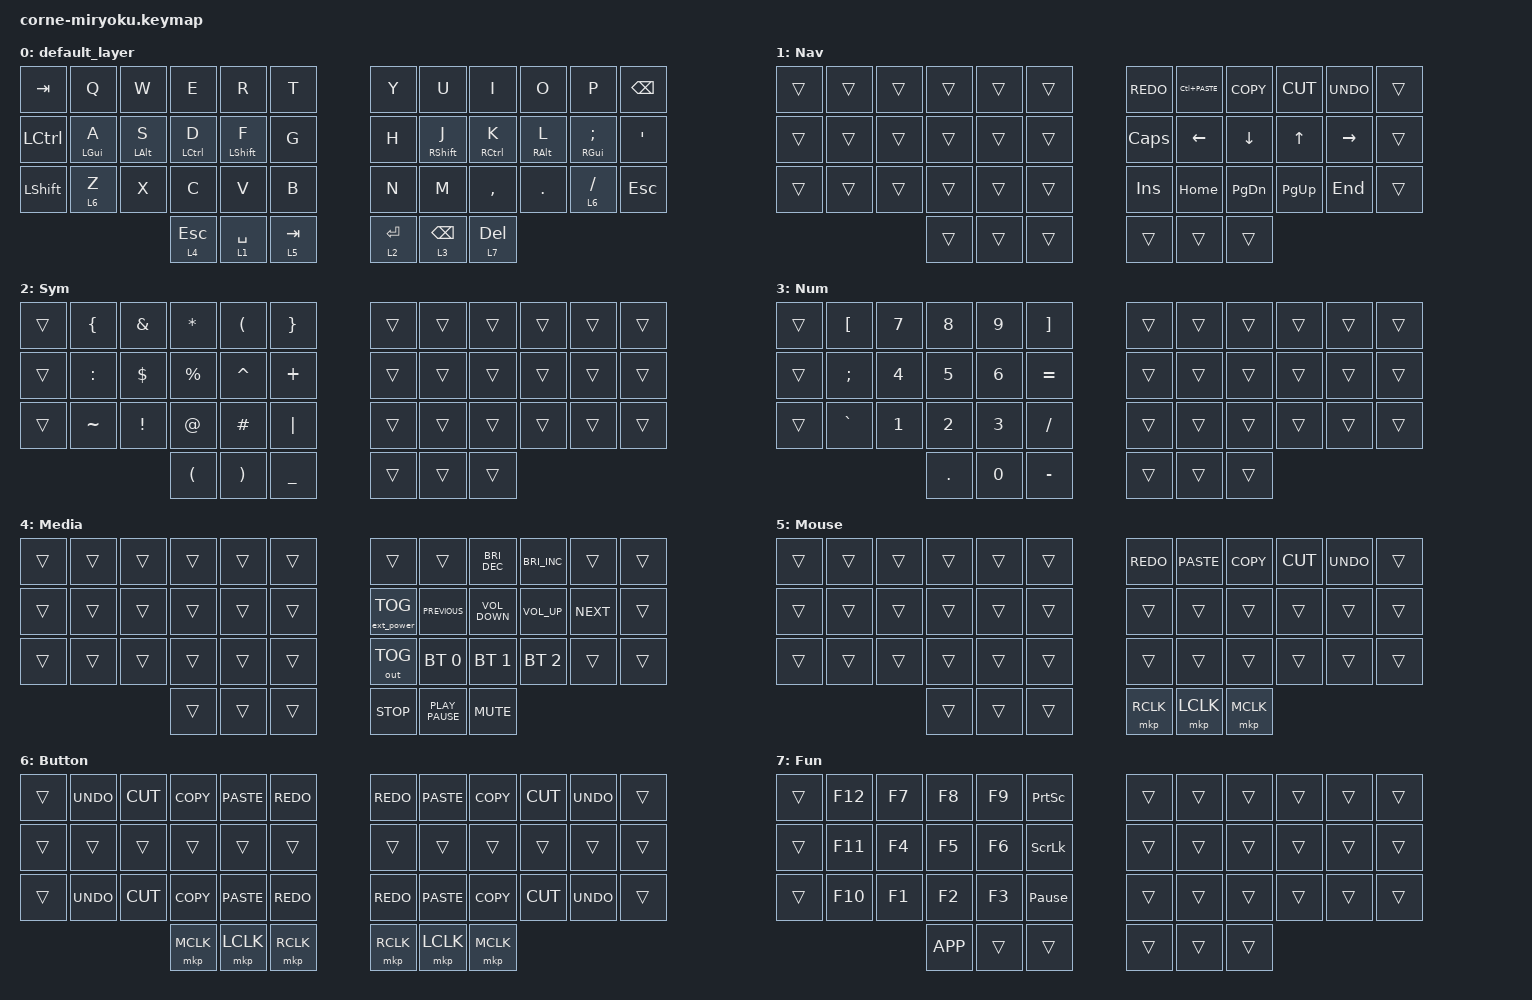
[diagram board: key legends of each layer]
/*
 * Copyright (c) 2020 The ZMK Contributors
 *
 * SPDX-License-Identifier: MIT
 */

#include <behaviors.dtsi>
#include <dt-bindings/zmk/bt.h>
#include <dt-bindings/zmk/ext_power.h>
#include <dt-bindings/zmk/keys.h>
#include <dt-bindings/zmk/outputs.h>

/ {
    behaviors {
        hml: hml {
            compatible = "zmk,behavior-hold-tap";
            label = "HML";
            bindings = <&kp>, <&kp>;

            #binding-cells = <2>;
            tapping-term-ms = <200>;
            hold-trigger-key-positions = <6 7 8 9 10 11 18 19 20 21 22 23 30 31 32 33 34 35>;
            flavor = "tap-preferred";
            hold-trigger-on-release;
        };

        hmr: hmr {
            compatible = "zmk,behavior-hold-tap";
            label = "HMR";
            bindings = <&kp>, <&kp>;

            #binding-cells = <2>;
            tapping-term-ms = <200>;
            hold-trigger-key-positions = <0 12 24 25 13 1 2 14 27 26 28 29 17 16 15 3 4 5>;
            flavor = "tap-preferred";
            hold-trigger-on-release;
        };

        thumblayer: thumblayer {
            compatible = "zmk,behavior-hold-tap";
            label = "THUMBLAYER";
            bindings = <&mo>, <&kp>;

            #binding-cells = <2>;
            tapping-term-ms = <200>;
            flavor = "hold-preferred";
        };

        thumbmod: thumbmod {
            compatible = "zmk,behavior-hold-tap";
            label = "THUMBMOD";
            bindings = <&kp>, <&kp>;

            #binding-cells = <2>;
            tapping-term-ms = <200>;
        };

        thumbtap: thumbtap {
            compatible = "zmk,behavior-hold-tap";
            label = "THUMBTAP";
            bindings = <&kp>, <&kp>;

            #binding-cells = <2>;
            tapping-term-ms = <200>;
            flavor = "balanced";
        };

        tll: tll {
            compatible = "zmk,behavior-hold-tap";
            label = "TLL";
            bindings = <&mo>, <&kp>;

            #binding-cells = <2>;
            tapping-term-ms = <200>;
            flavor = "hold-preferred";
            hold-trigger-key-positions = <6 18 30 31 32 33 34 22 10 9 8 7 19 20 21 39 40 41>;
        };

        tlr: tlr {
            compatible = "zmk,behavior-hold-tap";
            label = "TLR";
            bindings = <&mo>, <&kp>;

            #binding-cells = <2>;
            tapping-term-ms = <200>;
            flavor = "hold-preferred";
            hold-trigger-key-positions = <29 17 5 4 3 1 2 13 25 26 14 15 16 27 28 36 37 38>;
        };

        hacksword: hacksword {
            compatible = "zmk,behavior-caps-word";
            label = "HACKSWORD";
            #binding-cells = <0>;
            continue-list = <UNDERSCORE BACKSLASH MINUS>;
        };
    };

    combos {
        compatible = "zmk,combos";

        btclear {
            bindings = <&bt BT_CLR>;
            key-positions = <5 6>;
        };

        hackcaps {
            bindings = <&hacksword>;
            key-positions = <17 18>;
        };
    };

    keymap {
        compatible = "zmk,keymap";

        default_layer {
            // -----------------------------------------------------------------------------------------
            // |  TAB |  Q  |  W  |  E  |  R  |  T  |   |  Y  |  U   |  I  |  O  |  P  | BKSP |
            // | CTRL |  A  |  S  |  D  |  F  |  G  |   |  H  |  J   |  K  |  L  |  ;  |  '   |
            // | SHFT |  Z  |  X  |  C  |  V  |  B  |   |  N  |  M   |  ,  |  .  |  /  | ESC  |
            //                    | GUI | LWR | SPC |   | ENT | RSE  | ALT |

            bindings = <
&kp TAB         &kp Q            &kp W            &kp E                 &kp R              &kp T         &kp Y       &kp U               &kp I          &kp O             &kp P                     &kp BSPC
&kp LCTRL       &hml LEFT_GUI A  &hml LEFT_ALT S  &hml LCTRL D          &hml LEFT_SHIFT F  &kp G         &kp H       &hmr RIGHT_SHIFT J  &hmr RCTRL K   &hmr RIGHT_ALT L  &hmr RIGHT_GUI SEMICOLON  &kp SQT
&kp LEFT_SHIFT  &thumblayer 6 Z  &kp X            &kp C                 &kp V              &kp B         &kp N       &kp M               &kp COMMA      &kp DOT           &thumblayer 6 SLASH       &kp ESC
                                                  &thumblayer 4 ESCAPE  &tll 1 SPACE       &tll 5 TAB    &tlr 2 RET  &tlr 3 BACKSPACE    &tlr 7 DELETE
            >;
        };

        Nav {
            // -----------------------------------------------------------------------------------------
            // |  TAB |  1  |  2  |  3  |  4  |  5  |   |  6  |  7  |  8  |  9  |  0  | BKSP |
            // | BTCLR| BT1 | BT2 | BT3 | BT4 | BT5 |   | LFT | DWN |  UP | RGT |     |      |
            // | SHFT |     |     |     |     |     |   |     |     |     |     |     |      |
            //                    | GUI |     | SPC |   | ENT |     | ALT |

            bindings = <
&trans  &trans  &trans  &trans  &trans  &trans    &kp K_REDO    &kp LC(K_PASTE)  &kp K_COPY     &kp K_CUT    &kp K_UNDO  &trans
&trans  &trans  &trans  &trans  &trans  &trans    &kp CAPSLOCK  &kp LEFT         &kp DOWN       &kp UP       &kp RIGHT   &trans
&trans  &trans  &trans  &trans  &trans  &trans    &kp INSERT    &kp HOME         &kp PAGE_DOWN  &kp PAGE_UP  &kp END     &trans
                        &trans  &trans  &trans    &trans        &trans           &trans
            >;

            label = "Nav";
        };

        Sym {
            bindings = <
&trans  &kp LEFT_BRACE  &kp AMPERSAND    &kp ASTERISK          &kp LEFT_PARENTHESIS   &kp RIGHT_BRACE    &trans  &trans  &trans  &trans  &trans  &trans
&trans  &kp COLON       &kp DOLLAR       &kp PERCENT           &kp CARET              &kp PLUS           &trans  &trans  &trans  &trans  &trans  &trans
&trans  &kp TILDE       &kp EXCLAMATION  &kp AT_SIGN           &kp HASH               &kp PIPE           &trans  &trans  &trans  &trans  &trans  &trans
                                         &kp LEFT_PARENTHESIS  &kp RIGHT_PARENTHESIS  &kp UNDERSCORE     &trans  &trans  &trans
            >;

            label = "Sym";
        };

        Num {
            bindings = <
&trans  &kp LBKT   &kp N7  &kp N8      &kp N9  &kp RBKT     &trans  &trans  &trans  &trans  &trans  &trans
&trans  &kp SEMI   &kp N4  &kp N5      &kp N6  &kp EQUAL    &trans  &trans  &trans  &trans  &trans  &trans
&trans  &kp GRAVE  &kp N1  &kp N2      &kp N3  &kp FSLH     &trans  &trans  &trans  &trans  &trans  &trans
                           &kp PERIOD  &kp N0  &kp MINUS    &trans  &trans  &trans
            >;

            label = "Num";
        };

        Media {
            bindings = <
&trans  &trans  &trans  &trans  &trans  &trans    &trans             &trans            &kp C_BRI_DEC      &kp C_BRIGHTNESS_INC  &trans      &trans
&trans  &trans  &trans  &trans  &trans  &trans    &ext_power EP_TOG  &kp K_PREVIOUS    &kp C_VOLUME_DOWN  &kp C_VOL_UP          &kp K_NEXT  &trans
&trans  &trans  &trans  &trans  &trans  &trans    &out OUT_TOG       &bt BT_SEL 0      &bt BT_SEL 1       &bt BT_SEL 2          &trans      &trans
                        &trans  &trans  &trans    &kp K_STOP         &kp K_PLAY_PAUSE  &kp K_MUTE
            >;

            label = "Media";
        };

        Mouse {
            bindings = <
&trans  &trans  &trans  &trans  &trans  &trans    &kp K_REDO  &kp K_PASTE  &kp K_COPY  &kp K_CUT  &kp K_UNDO  &trans
&trans  &trans  &trans  &trans  &trans  &trans    &trans      &trans       &trans      &trans     &trans      &trans
&trans  &trans  &trans  &trans  &trans  &trans    &trans      &trans       &trans      &trans     &trans      &trans
                        &trans  &trans  &trans    &mkp RCLK   &mkp LCLK    &mkp MCLK
            >;

            label = "Mouse";
        };

        Button {
            bindings = <
&trans  &kp K_UNDO  &kp K_CUT  &kp K_COPY  &kp K_PASTE  &kp K_REDO    &kp K_REDO  &kp K_PASTE  &kp K_COPY  &kp K_CUT  &kp K_UNDO  &trans
&trans  &trans      &trans     &trans      &trans       &trans        &trans      &trans       &trans      &trans     &trans      &trans
&trans  &kp K_UNDO  &kp K_CUT  &kp K_COPY  &kp K_PASTE  &kp K_REDO    &kp K_REDO  &kp K_PASTE  &kp K_COPY  &kp K_CUT  &kp K_UNDO  &trans
                               &mkp MCLK   &mkp LCLK    &mkp RCLK     &mkp RCLK   &mkp LCLK    &mkp MCLK
            >;

            label = "Button";
        };

        Fun {
            bindings = <
&trans  &kp F12  &kp F7  &kp F8     &kp F9  &kp PRINTSCREEN    &trans  &trans  &trans  &trans  &trans  &trans
&trans  &kp F11  &kp F4  &kp F5     &kp F6  &kp SCROLLLOCK     &trans  &trans  &trans  &trans  &trans  &trans
&trans  &kp F10  &kp F1  &kp F2     &kp F3  &kp PAUSE_BREAK    &trans  &trans  &trans  &trans  &trans  &trans
                         &kp K_APP  &trans  &trans             &trans  &trans  &trans
            >;

            label = "Fun";
        };
    };

    conditional_layers { compatible = "zmk,conditional-layers"; };
};
